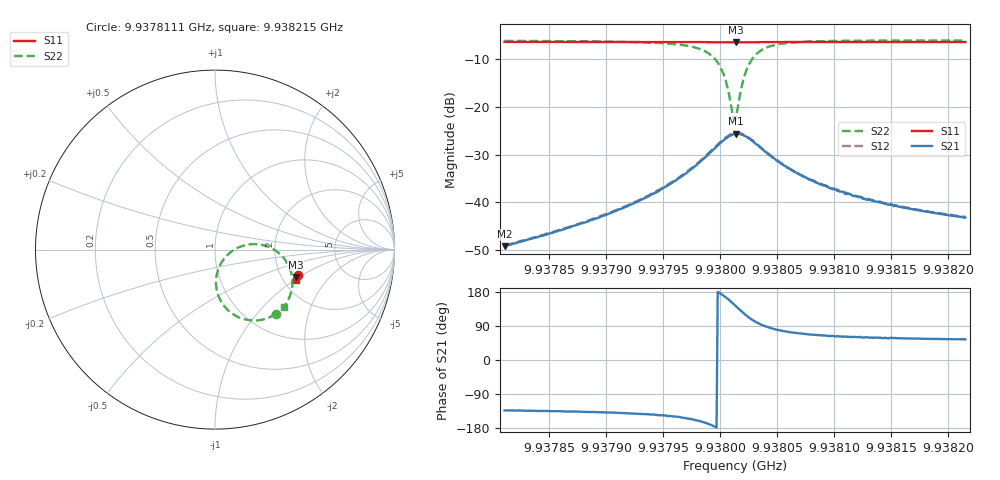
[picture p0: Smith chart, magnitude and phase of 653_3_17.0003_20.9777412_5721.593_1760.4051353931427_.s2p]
#  HZ  S  RI  R  50.00
! Rohde & Schwarz Vector Network Analyzer
! Rohde-Schwarz,ZNB20-2Port,1311601062101988,3.16
! Created: UTC 3/20/2024, 11:21:20 PM
! freq[Hz]  re:S11  im:S11  re:S21  im:S21  re:S12  im:S12  re:S22  im:S22
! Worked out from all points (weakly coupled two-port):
!   401 points, 9.9378111 GHz to 9.938215 GHz, reference 50 ohm
!   highest |S21| = -25.63 dB at 9.938014 GHz (marker M1); lowest = -49.2 dB at 9.9378111 GHz (marker M2)
!   lowest |S11| = -6.5 dB at 9.938014 GHz (marker M3), VSWR 2.81, Z = 119 - j46.5 ohm
!   |S11| at or under -10 dB: nowhere
!   |S22| runs from -22.9 to -6.1 dB; largest |S21 - S12| = 0.0023
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9.93781111e9  0.46 -0.1419  -0.00237 -0.00253  -0.00247 -0.00252  0.3397 -0.3572
9.93787875e9  0.458 -0.1466  -0.00438 -0.00413  -0.00449 -0.00415  0.318 -0.3703
9.93791712e9  0.4569 -0.1494  -0.00689 -0.00571  -0.00709 -0.00573  0.2938 -0.3815
9.9379464e9  0.4556 -0.1514  -0.0107 -0.00745  -0.0113 -0.00746  0.2574 -0.3914
9.9379777e9  0.4536 -0.1539  -0.022 -0.00885  -0.0226 -0.00873  0.1644 -0.3882
9.93798678e9  0.4526 -0.1545  -0.0285 -0.00754  -0.0295 -0.00719  0.1125 -0.367
9.93799385e9  0.4516 -0.1548  -0.0354 -0.00391  -0.0362 -0.00337  0.0631 -0.328
9.9379989e9  0.4507 -0.1545  -0.0403 0.00127  -0.0414 0.00232  0.0282 -0.2784
9.93800294e9  0.45 -0.1543  -0.0439 0.00766  -0.045 0.009  0.00889 -0.2216
9.93800596e9  0.4495 -0.1537  -0.0456 0.0137  -0.0465 0.0155  0.00569 -0.1687
9.93801101e9  0.4493 -0.1525  -0.0444 0.0258  -0.0448 0.0277  0.0345 -0.0744
9.93801303e9  0.4493 -0.1522  -0.0423 0.0302  -0.0422 0.0325  0.06 -0.0397
9.93801404e9  0.4494 -0.1518  -0.0408 0.0326  -0.0407 0.0345  0.0744 -0.0251
9.93801909e9  0.4504 -0.151  -0.031 0.0406  -0.0303 0.0426  0.1663 0.0243
9.93802212e9  0.4509 -0.1508  -0.0242 0.0428  -0.0234 0.0444  0.2244 0.0307
9.93802616e9  0.4519 -0.1508  -0.0158 0.0432  -0.0148 0.0442  0.2916 0.0178
9.93803221e9  0.4528 -0.1513  -0.0062 0.0397  -0.0052 0.0405  0.3617 -0.0248
9.93804837e9  0.4539 -0.1534  0.0044 0.0277  0.00511 0.028  0.4266 -0.1371
9.93808067e9  0.4536 -0.157  0.00667 0.0156  0.00706 0.0155  0.4238 -0.2393
9.93810995e9  0.453 -0.1594  0.00585 0.0107  0.00622 0.0109  0.4103 -0.2754
9.93814832e9  0.4519 -0.1622  0.00495 0.008  0.00518 0.00808  0.3971 -0.2991
9.93821495e9  0.45 -0.1667  0.00402 0.00563  0.00417 0.00562  0.382 -0.3196
